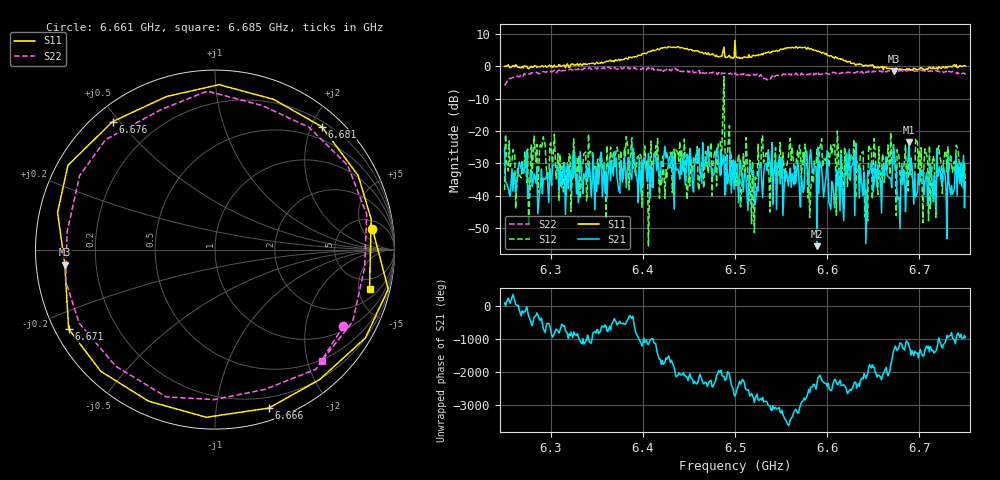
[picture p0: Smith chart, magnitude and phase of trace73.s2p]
# Hz S RI R 50
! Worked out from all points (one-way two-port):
!   401 points, 6.25 GHz to 6.75 GHz, reference 50 ohm
!   highest |S21| = -23.51 dB at 6.689 GHz (marker M1); lowest = -55.7 dB at 6.589 GHz (marker M2)
!   lowest |S11| = -1.5 dB at 6.672 GHz (marker M3), VSWR 11.58, Z = 4.33 - j2.47 ohm
!   |S11| at or under -10 dB: nowhere
!   |S22| runs from -5.9 to -0.1 dB; largest |S21 - S12| = 0.66
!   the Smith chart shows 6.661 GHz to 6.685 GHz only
!   S11 on the Smith chart (normalised r, x): 6.661 GHz: 8, +8; 6.666 GHz: 0.10, -1.39; 6.671 GHz: 0.04, -0.25; 6.676 GHz: 0.06, +0.48; 6.681 GHz: 0.28, +2.17; 6.685 GHz: 3.07, -6.48
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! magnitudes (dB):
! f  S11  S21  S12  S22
! 6.25 GHz  0.0  -25.1  -38.3  -5.9
! 6.334 GHz  0.3  -36.0  -30.9  -1.1
! 6.418 GHz  5.2  -34.8  -40.9  -1.1
! 6.478 GHz  3.4  -32.7  -26.0  -1.7
! 6.485 GHz  3.2  -26.4  -33.4  -2.4
! 6.5 GHz  8.1  -29.3  -30.3  -2.1
! 6.52 GHz  3.5  -32.2  -41.4  -2.4
! 6.528 GHz  3.7  -29.9  -31.3  -2.5
! 6.54 GHz  4.5  -23.6  -32.9  -3.1
! 6.56 GHz  5.9  -31.5  -22.3  -2.6
! 6.584 GHz  5.2  -32.7  -32.2  -2.6
! 6.589 GHz  4.7  -55.7  -25.7  -2.7
! 6.661 GHz  -1.1  -31.1  -28.1  -1.6
! 6.666 GHz  -0.6  -34.1  -24.3  -1.3
! 6.668 GHz  -0.6  -34.7  -33.5  -1.4
! 6.671 GHz  -0.7  -28.9  -30.5  -1.6
! 6.672 GHz  -1.5  -24.4  -24.2  -1.3
! 6.676 GHz  -0.8  -41.1  -25.8  -1.1
! 6.681 GHz  -0.8  -30.1  -30.8  -1.2
! 6.685 GHz  -1.0  -45.0  -24.3  -1.3
! 6.689 GHz  -0.7  -23.5  -26.7  -1.2
! 6.75 GHz  0.2  -36.2  -36.5  -2.5
